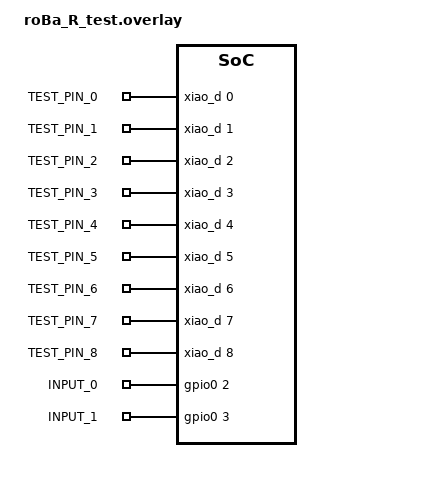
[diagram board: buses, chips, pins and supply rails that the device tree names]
#include "roBa.dtsi"

&default_transform {
    col-offset = <6>;
};

// Disable normal keyboard scanning for testing
&kscan0 {
    status = "disabled";
};

/ {
    // Test configuration for through-hole continuity check
    gpio_test {
        compatible = "zmk,behavior-macro";
        label = "GPIO_TEST";
        #binding-cells = <0>;
    };
    
    // Configure unused pins as test pins
    test_pins {
        compatible = "gpio-leds";
        
        // Use available GPIO pins for testing
        // These will output signals to test continuity
        test_pin_0: test_0 {
            gpios = <&xiao_d 0 GPIO_ACTIVE_HIGH>;
            label = "TEST_PIN_0";
        };
        
        test_pin_1: test_1 {
            gpios = <&xiao_d 1 GPIO_ACTIVE_HIGH>;
            label = "TEST_PIN_1";
        };
        
        test_pin_2: test_2 {
            gpios = <&xiao_d 2 GPIO_ACTIVE_HIGH>;
            label = "TEST_PIN_2";
        };
        
        test_pin_3: test_3 {
            gpios = <&xiao_d 3 GPIO_ACTIVE_HIGH>;
            label = "TEST_PIN_3";
        };
        
        test_pin_4: test_4 {
            gpios = <&xiao_d 4 GPIO_ACTIVE_HIGH>;
            label = "TEST_PIN_4";
        };
        
        test_pin_5: test_5 {
            gpios = <&xiao_d 5 GPIO_ACTIVE_HIGH>;
            label = "TEST_PIN_5";
        };
        
        test_pin_6: test_6 {
            gpios = <&xiao_d 6 GPIO_ACTIVE_HIGH>;
            label = "TEST_PIN_6";
        };
        
        // Pin 7-10 are used by keyboard matrix normally
        // but we can repurpose them for testing
        test_pin_7: test_7 {
            gpios = <&xiao_d 7 GPIO_ACTIVE_HIGH>;
            label = "TEST_PIN_7";
        };
        
        test_pin_8: test_8 {
            gpios = <&xiao_d 8 GPIO_ACTIVE_HIGH>;
            label = "TEST_PIN_8";
        };
    };
    
    // Input pins to read continuity
    test_inputs {
        compatible = "gpio-keys";
        
        input_0: input_0 {
            gpios = <&gpio0 2 (GPIO_ACTIVE_HIGH | GPIO_PULL_DOWN)>;
            label = "INPUT_0";
        };
        
        input_1: input_1 {
            gpios = <&gpio0 3 (GPIO_ACTIVE_HIGH | GPIO_PULL_DOWN)>;
            label = "INPUT_1";
        };
    };
};

// Disable SPI and trackball for testing
&xiao_serial { status = "disabled"; };
&spi0 { status = "disabled"; };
